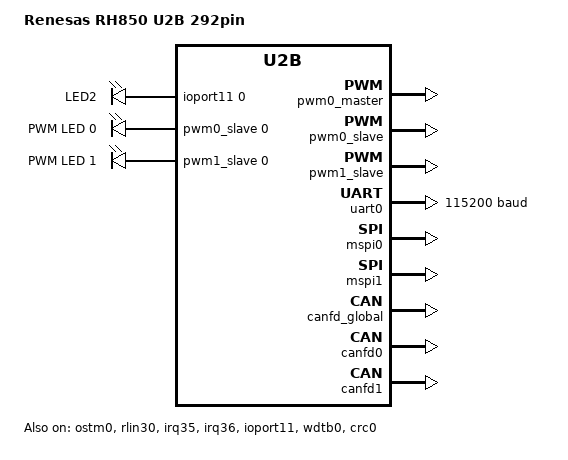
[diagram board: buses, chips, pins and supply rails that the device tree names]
/*
 * Copyright (c) 2026 Renesas Electronics Corporation
 * SPDX-License-Identifier: Apache-2.0
 */

/dts-v1/;

#include <rh850/renesas/rh850u2b/r7f70255xxfabb-c.dtsi>
#include <dt-bindings/gpio/gpio.h>
#include <dt-bindings/pwm/pwm.h>

#include "pb_rh850u2b_292pin-pinctrl.dtsi"

/ {
	model = "Renesas RH850 U2B 292pin";
	compatible = "renesas,u2b10", "renesas,u2b";

	chosen {
		zephyr,console = &uart0;
		zephyr,shell-uart = &uart0;
		zephyr,sram = &sram0;
		zephyr,flash = &flash0;
		zephyr,system-timer = &ostm0;
		zephyr,crc = &crc0;
		zephyr,canbus = &canfd0;
	};

	aliases {
		led0 = &led2;
		watchdog0 = &wdtb0;
		pwm-led0 = &pwm_led_0;
		pwm-led1 = &pwm_led_1;
	};

	leds {
		compatible = "gpio-leds";

		led2: led2 {
			gpios = <&ioport11 0 GPIO_ACTIVE_HIGH>;
			label = "LED2";
		};
	};

	pwmleds {
		compatible = "pwm-leds";

		pwm_led_0: pwm_led_0 {
			pwms = <&pwm0_slave 0 PWM_MSEC(20) PWM_POLARITY_NORMAL>;
			label = "PWM LED 0";
		};

		pwm_led_1: pwm_led_1 {
			pwms = <&pwm1_slave 0 PWM_MSEC(20) PWM_POLARITY_INVERTED>;
			label = "PWM LED 1";
		};
	};
};

&pwm0_master {
	status = "okay";
};

&pwm0_slave {
	pinctrl-0 = <&pwm0_slave_default>;
	pinctrl-names = "default";
	status = "okay";
};

&pwm1_slave {
	pinctrl-0 = <&pwm1_slave_default>;
	pinctrl-names = "default";
	status = "okay";
};

&taud3p0 {
	pinctrl-0 = <&taud3p0_default>;
	pinctrl-names = "default";
	status = "disabled";
};

&taud3p1 {
	pinctrl-0 = <&taud3p1_default>;
	pinctrl-names = "default";
	status = "disabled";
};

&taud3p2 {
	pinctrl-0 = <&taud3p2_default>;
	pinctrl-names = "default";
	status = "disabled";
};

&ostm0 {
	status = "okay";

	timer {
		status = "okay";
	};
};

&rlin30 {
	pinctrl-0 = <&rlin30_default>;
	pinctrl-names = "default";
	status = "okay";

	uart0: uart {
		current-speed = <115200>;
		status = "okay";
	};
};

&irq35 {
	trigger-type = "falling";
	pinctrl-0 = <&irq35_ioport>;
	pinctrl-names = "default";
	status = "okay";
};

&irq36 {
	trigger-type = "falling";
	pinctrl-0 = <&irq36_ioport>;
	pinctrl-names = "default";
	status = "okay";
};

&ioport11 {
	status = "okay";
};

&mspi0 {
	pinctrl-0 = <&mspi0_default>;
	pinctrl-names = "default";
	channel = <0>;
	status = "okay";
};

&mspi1 {
	pinctrl-0 = <&mspi1_default>;
	pinctrl-names = "default";
	channel = <0>;
	status = "okay";
};

&wdtb0 {
	status = "okay";
};

&crc0 {
	status = "okay";
};

&canfd_global {
	status = "okay";
};

&canfd0 {
	pinctrl-0 = <&canfd0_default>;
	pinctrl-names = "default";
	status = "okay";
	rx-max-filters = <128>;
};

&canfd1 {
	pinctrl-0 = <&canfd1_default>;
	pinctrl-names = "default";
	status = "okay";
	rx-max-filters = <128>;
};

&etnd0_mdio {
	pinctrl-0 = <&etnd0_mdio_default>;
	pinctrl-names = "default";

	eth_phy0: ethernet-phy@1f {
		compatible = "ethernet-phy";
		reg = <0x1f>;
		reset-gpios = <&ioport10 8 GPIO_ACTIVE_LOW>;
		reset-assert-duration-us = <1000>;
		reset-deassertion-timeout-ms = <10>;
		default-speeds = "10BASE Full-Duplex", "100BASE Full-Duplex";
		status = "disabled";
	};
};

&etnd0 {
	pinctrl-0 = <&etnd0_mii_default>;
	pinctrl-names = "default";
	phy-handle = <&eth_phy0>;
	phy-connection-type = "mii";
	local-mac-address = [74 90 50 54 53 4e];
};
